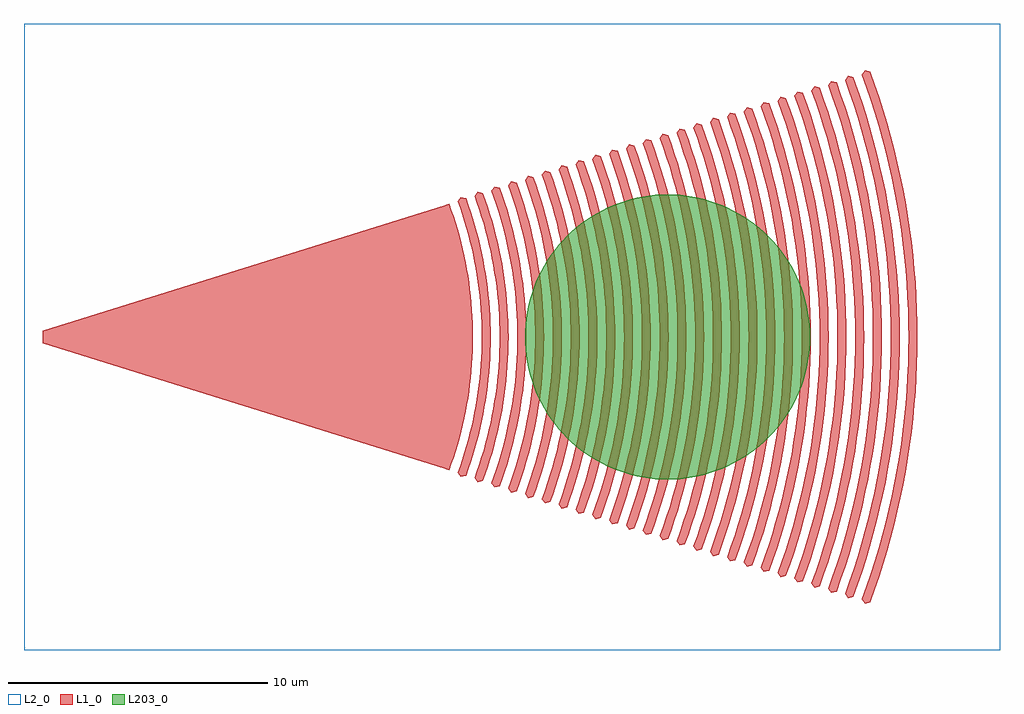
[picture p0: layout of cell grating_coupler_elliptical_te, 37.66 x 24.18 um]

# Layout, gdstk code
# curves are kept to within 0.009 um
import gdstk
lib = gdstk.Library(unit=1e-6, precision=1e-09)
def R(c, l, rs):  # rectangles x0, y0, x1, y1
    for r in rs: c.add(gdstk.rectangle(r[:2], r[2:], *l))
def P(c, l, *ps):  # polygons
    for p in ps: c.add(gdstk.Polygon(p, *l))
L1_0 = (1, 0)
L2_0 = (2, 0)
L203_0 = (203, 0)

circle_layer203_0_radius = lib.new_cell('circle_layer203_0_radius5p5')
P(circle_layer203_0_radius, L203_0, [(5.5,0),(5.495,0.24),(5.453,0.718),(5.37,1.19),(5.245,1.654),(5.081,2.105),(4.879,2.54),(4.639,2.955),(4.505,3.155),(4.213,3.535),(3.889,3.889),(3.535,4.213),(3.155,4.505),(2.955,4.639),(2.54,4.879),(2.105,5.081),(1.654,5.245),(1.19,5.37),(0.718,5.453),(0.24,5.495),(0,5.5),(-0.24,5.495),(-0.718,5.453),(-1.19,5.37),(-1.654,5.245),(-2.105,5.081),(-2.54,4.879),(-2.955,4.639),(-3.155,4.505),(-3.535,4.213),(-3.889,3.889),(-4.213,3.535),(-4.505,3.155),(-4.639,2.955),(-4.879,2.54),(-5.081,2.105),(-5.245,1.654),(-5.37,1.19),(-5.453,0.718),(-5.495,0.24),(-5.5,0),(-5.495,-0.24),(-5.453,-0.718),(-5.37,-1.19),(-5.245,-1.654),(-5.081,-2.105),(-4.879,-2.54),(-4.639,-2.955),(-4.505,-3.155),(-4.213,-3.535),(-3.889,-3.889),(-3.535,-4.213),(-3.155,-4.505),(-2.955,-4.639),(-2.54,-4.879),(-2.105,-5.081),(-1.654,-5.245),(-1.19,-5.37),(-0.718,-5.453),(-0.24,-5.495),(0,-5.5),(0.24,-5.495),(0.718,-5.453),(1.19,-5.37),(1.654,-5.245),(2.105,-5.081),(2.54,-4.879),(2.955,-4.639),(3.155,-4.505),(3.535,-4.213),(3.889,-3.889),(4.213,-3.535),(4.505,-3.155),(4.639,-2.955),(4.879,-2.54),(5.081,-2.105),(5.245,-1.654),(5.37,-1.19),(5.453,-0.718),(5.495,-0.24)])

grating_coupler_elliptic = lib.new_cell('grating_coupler_elliptical_te')
P(grating_coupler_elliptic, L1_0, [(16.855,-5.399),(16.732,-5.233),(16.989,-4.472),(17.206,-3.701),(17.381,-2.919),(17.514,-2.129),(17.58,-1.599),(17.627,-1.067),(17.655,-0.534),(17.664,0),(17.655,0.534),(17.627,1.067),(17.58,1.599),(17.514,2.129),(17.381,2.919),(17.206,3.701),(16.989,4.472),(16.732,5.233),(16.855,5.399),(17.055,5.349),(17.234,4.834),(17.395,4.312),(17.538,3.784),(17.662,3.252),(17.813,2.447),(17.921,1.635),(17.986,0.819),(18.008,0),(17.986,-0.819),(17.921,-1.635),(17.813,-2.447),(17.662,-3.252),(17.538,-3.784),(17.395,-4.312),(17.234,-4.834),(17.055,-5.349)],
  [(17.505,-5.602),(17.382,-5.437),(17.565,-4.911),(17.804,-4.113),(18,-3.304),(18.153,-2.486),(18.263,-1.661),(18.311,-1.109),(18.341,-0.555),(18.35,0),(18.341,0.555),(18.311,1.109),(18.263,1.661),(18.153,2.486),(18,3.304),(17.804,4.113),(17.565,4.911),(17.382,5.437),(17.505,5.602),(17.705,5.552),(17.891,5.018),(18.058,4.476),(18.206,3.928),(18.335,3.376),(18.492,2.54),(18.604,1.697),(18.671,0.85),(18.694,0),(18.671,-0.85),(18.604,-1.697),(18.492,-2.54),(18.335,-3.376),(18.206,-3.928),(18.058,-4.476),(17.891,-5.018),(17.705,-5.552)],
  [(18.155,-5.806),(18.032,-5.64),(18.309,-4.82),(18.542,-3.989),(18.731,-3.146),(18.831,-2.579),(18.912,-2.009),(18.996,-1.15),(19.026,-0.575),(19.036,0),(19.026,0.575),(18.996,1.15),(18.912,2.009),(18.831,2.579),(18.731,3.146),(18.542,3.989),(18.309,4.82),(18.032,5.64),(18.155,5.806),(18.355,5.756),(18.547,5.202),(18.721,4.64),(18.874,4.072),(19.008,3.5),(19.17,2.633),(19.286,1.76),(19.356,0.881),(19.38,0),(19.356,-0.881),(19.286,-1.76),(19.17,-2.633),(19.008,-3.5),(18.874,-4.072),(18.721,-4.64),(18.547,-5.202),(18.355,-5.756)],
  [(18.804,-6.009),(18.681,-5.844),(18.969,-4.994),(19.135,-4.421),(19.345,-3.552),(19.51,-2.672),(19.594,-2.082),(19.657,-1.489),(19.699,-0.894),(19.722,0),(19.699,0.894),(19.657,1.489),(19.594,2.082),(19.51,2.672),(19.345,3.552),(19.135,4.421),(18.969,4.994),(18.681,5.844),(18.804,6.009),(19.004,5.959),(19.204,5.386),(19.384,4.804),(19.543,4.216),(19.681,3.624),(19.849,2.726),(19.969,1.822),(20.041,0.912),(20.066,0),(20.041,-0.912),(19.969,-1.822),(19.849,-2.726),(19.681,-3.624),(19.543,-4.216),(19.384,-4.804),(19.204,-5.386),(19.004,-5.959)],
  [(19.454,-6.213),(19.331,-6.047),(19.535,-5.462),(19.8,-4.575),(20.018,-3.675),(20.189,-2.765),(20.275,-2.154),(20.341,-1.541),(20.398,-0.617),(20.408,0),(20.398,0.617),(20.341,1.541),(20.275,2.154),(20.189,2.765),(20.018,3.675),(19.8,4.575),(19.535,5.462),(19.331,6.047),(19.454,6.213),(19.654,6.163),(19.861,5.569),(20.046,4.968),(20.211,4.36),(20.354,3.747),(20.527,2.819),(20.652,1.884),(20.727,0.943),(20.752,0),(20.727,-0.943),(20.652,-1.884),(20.527,-2.819),(20.354,-3.747),(20.211,-4.36),(20.046,-4.968),(19.861,-5.569),(19.654,-6.163)],
  [(20.104,-6.416),(19.981,-6.251),(20.288,-5.342),(20.466,-4.729),(20.691,-3.799),(20.867,-2.858),(20.957,-2.227),(21.05,-1.275),(21.083,-0.638),(21.094,0),(21.083,0.638),(21.05,1.275),(20.957,2.227),(20.867,2.858),(20.691,3.799),(20.466,4.729),(20.288,5.342),(19.981,6.251),(20.104,6.416),(20.304,6.366),(20.517,5.753),(20.709,5.132),(20.879,4.504),(21.027,3.871),(21.206,2.913),(21.334,1.946),(21.412,0.974),(21.438,0),(21.412,-0.974),(21.334,-1.946),(21.206,-2.913),(21.027,-3.871),(20.879,-4.504),(20.709,-5.132),(20.517,-5.753),(20.304,-6.366)],
  [(20.754,-6.62),(20.631,-6.454),(20.948,-5.516),(21.131,-4.883),(21.364,-3.923),(21.546,-2.951),(21.638,-2.299),(21.708,-1.644),(21.769,-0.658),(21.78,0),(21.769,0.658),(21.708,1.644),(21.638,2.299),(21.546,2.951),(21.364,3.923),(21.131,4.883),(20.948,5.516),(20.631,6.454),(20.754,6.62),(20.954,6.57),(21.174,5.937),(21.372,5.296),(21.547,4.648),(21.699,3.995),(21.885,3.006),(22.017,2.008),(22.097,1.006),(22.124,0),(22.097,-1.006),(22.017,-2.008),(21.885,-3.006),(21.699,-3.995),(21.547,-4.648),(21.372,-5.296),(21.174,-5.937),(20.954,-6.57)],
  [(21.403,-6.823),(21.28,-6.658),(21.608,-5.69),(21.883,-4.708),(22.037,-4.046),(22.224,-3.044),(22.32,-2.372),(22.419,-1.358),(22.455,-0.679),(22.466,0),(22.455,0.679),(22.419,1.358),(22.32,2.372),(22.224,3.044),(22.037,4.046),(21.883,4.708),(21.608,5.69),(21.28,6.658),(21.403,6.823),(21.603,6.773),(21.719,6.449),(21.935,5.791),(22.128,5.127),(22.297,4.456),(22.442,3.78),(22.615,2.757),(22.7,2.071),(22.782,1.037),(22.81,0),(22.782,-1.037),(22.7,-2.071),(22.615,-2.757),(22.442,-3.78),(22.297,-4.456),(22.128,-5.127),(21.935,-5.791),(21.719,-6.449),(21.603,-6.773)],
  [(22.053,-7.027),(21.93,-6.861),(22.267,-5.864),(22.551,-4.852),(22.71,-4.17),(22.903,-3.138),(23.042,-2.097),(23.103,-1.399),(23.14,-0.7),(23.152,0),(23.14,0.7),(23.103,1.399),(23.042,2.097),(22.903,3.138),(22.71,4.17),(22.551,4.852),(22.267,5.864),(21.93,6.861),(22.053,7.027),(22.253,6.977),(22.373,6.643),(22.595,5.965),(22.793,5.281),(22.967,4.59),(23.117,3.893),(23.242,3.192),(23.383,2.133),(23.467,1.068),(23.496,0),(23.467,-1.068),(23.383,-2.133),(23.242,-3.192),(23.117,-3.893),(22.967,-4.59),(22.793,-5.281),(22.595,-5.965),(22.373,-6.643),(22.253,-6.977)],
  [(22.703,-7.23),(22.58,-7.065),(22.818,-6.382),(23.128,-5.345),(23.383,-4.294),(23.582,-3.231),(23.683,-2.517),(23.788,-1.441),(23.826,-0.721),(23.838,0),(23.826,0.721),(23.788,1.441),(23.683,2.517),(23.582,3.231),(23.383,4.294),(23.128,5.345),(22.818,6.382),(22.58,7.065),(22.703,7.23),(22.903,7.18),(23.026,6.836),(23.255,6.139),(23.459,5.435),(23.638,4.724),(23.792,4.007),(23.975,2.922),(24.101,1.83),(24.169,0.733),(24.182,0),(24.169,-0.733),(24.101,-1.83),(23.975,-2.922),(23.792,-4.007),(23.638,-4.724),(23.459,-5.435),(23.255,-6.139),(23.026,-6.836),(22.903,-7.18)],
  [(23.353,-7.434),(23.23,-7.268),(23.587,-6.212),(23.887,-5.14),(24.056,-4.417),(24.26,-3.324),(24.365,-2.589),(24.443,-1.852),(24.495,-1.112),(24.524,0),(24.495,1.112),(24.443,1.852),(24.365,2.589),(24.26,3.324),(24.056,4.417),(23.887,5.14),(23.587,6.212),(23.23,7.268),(23.353,7.434),(23.553,7.384),(23.8,6.673),(24.023,5.952),(24.22,5.224),(24.467,4.12),(24.655,3.005),(24.785,1.882),(24.838,1.13),(24.868,0),(24.838,-1.13),(24.785,-1.882),(24.655,-3.005),(24.467,-4.12),(24.22,-5.224),(24.023,-5.952),(23.8,-6.673),(23.553,-7.384)],
  [(24.002,-7.637),(23.879,-7.472),(24.131,-6.75),(24.459,-5.653),(24.728,-4.541),(24.939,-3.417),(25.046,-2.662),(25.127,-1.904),(25.197,-0.762),(25.21,0),(25.197,0.762),(25.127,1.904),(25.046,2.662),(24.939,3.417),(24.728,4.541),(24.459,5.653),(24.131,6.75),(23.879,7.472),(24.002,7.637),(24.202,7.587),(24.457,6.856),(24.685,6.116),(24.888,5.368),(25.142,4.234),(25.278,3.471),(25.431,2.319),(25.523,1.161),(25.554,0),(25.523,-1.161),(25.431,-2.319),(25.278,-3.471),(25.142,-4.234),(24.888,-5.368),(24.685,-6.116),(24.457,-6.856),(24.202,-7.587)],
  [(24.652,-7.841),(24.529,-7.675),(24.906,-6.56),(25.124,-5.807),(25.401,-4.665),(25.617,-3.51),(25.728,-2.734),(25.81,-1.955),(25.883,-0.783),(25.896,0),(25.883,0.783),(25.841,1.565),(25.728,2.734),(25.617,3.51),(25.401,4.665),(25.124,5.807),(24.906,6.56),(24.529,7.675),(24.652,7.841),(24.852,7.791),(25.113,7.04),(25.348,6.28),(25.556,5.512),(25.817,4.347),(26.016,3.171),(26.152,1.986),(26.208,1.192),(26.24,0),(26.208,-1.192),(26.152,-1.986),(26.016,-3.171),(25.817,-4.347),(25.556,-5.512),(25.348,-6.28),(25.113,-7.04),(24.852,-7.791)],
  [(25.302,-8.044),(25.179,-7.879),(25.444,-7.117),(25.79,-5.961),(26.074,-4.789),(26.296,-3.603),(26.409,-2.807),(26.526,-1.607),(26.568,-0.804),(26.582,0),(26.568,0.804),(26.526,1.607),(26.409,2.807),(26.296,3.603),(26.074,4.789),(25.79,5.961),(25.444,7.117),(25.179,7.879),(25.302,8.044),(25.502,7.994),(25.77,7.224),(26.121,6.051),(26.32,5.259),(26.492,4.461),(26.696,3.254),(26.836,2.038),(26.893,1.224),(26.926,0),(26.893,-1.224),(26.836,-2.038),(26.696,-3.254),(26.492,-4.461),(26.32,-5.259),(26.121,-6.051),(25.77,-7.224),(25.502,-7.994)],
  [(25.952,-8.248),(25.829,-8.082),(26.226,-6.908),(26.56,-5.716),(26.747,-4.912),(26.975,-3.696),(27.091,-2.879),(27.178,-2.059),(27.236,-1.237),(27.268,0),(27.236,1.237),(27.178,2.059),(27.091,2.879),(26.975,3.696),(26.83,4.508),(26.56,5.716),(26.226,6.908),(25.829,8.082),(25.952,8.248),(26.152,8.198),(26.426,7.408),(26.673,6.608),(26.892,5.8),(27.167,4.574),(27.376,3.336),(27.479,2.506),(27.578,1.255),(27.612,0),(27.578,-1.255),(27.479,-2.506),(27.376,-3.336),(27.167,-4.574),(26.892,-5.8),(26.673,-6.608),(26.426,-7.408),(26.152,-8.198)],
  [(26.601,-8.451),(26.478,-8.286),(26.885,-7.082),(27.228,-5.86),(27.505,-4.622),(27.653,-3.789),(27.772,-2.952),(27.895,-1.69),(27.94,-0.845),(27.954,0),(27.94,0.845),(27.895,1.69),(27.772,2.952),(27.653,3.789),(27.505,4.622),(27.228,5.86),(26.885,7.082),(26.478,8.286),(26.601,8.451),(26.801,8.401),(27.083,7.592),(27.452,6.359),(27.661,5.527),(27.842,4.688),(27.992,3.843),(28.162,2.568),(28.263,1.286),(28.298,0),(28.263,-1.286),(28.162,-2.568),(28.056,-3.419),(27.842,-4.688),(27.661,-5.527),(27.452,-6.359),(27.083,-7.592),(26.801,-8.401)],
  [(27.251,-8.655),(27.128,-8.489),(27.545,-7.256),(27.896,-6.004),(28.093,-5.16),(28.332,-3.882),(28.454,-3.024),(28.545,-2.163),(28.606,-1.299),(28.64,0),(28.606,1.299),(28.545,2.163),(28.454,3.024),(28.332,3.882),(28.093,5.16),(27.896,6.004),(27.545,7.256),(27.128,8.489),(27.251,8.655),(27.451,8.605),(27.74,7.776),(27.999,6.936),(28.229,6.088),(28.517,4.801),(28.736,3.502),(28.887,2.193),(28.949,1.317),(28.984,0),(28.949,-1.317),(28.887,-2.193),(28.736,-3.502),(28.517,-4.801),(28.229,-6.088),(27.999,-6.936),(27.74,-7.776),(27.451,-8.605)],
  [(27.901,-8.858),(27.778,-8.693),(28.205,-7.43),(28.452,-6.577),(28.766,-5.283),(29.01,-3.975),(29.135,-3.097),(29.229,-2.215),(29.311,-0.887),(29.326,0),(29.311,0.887),(29.229,2.215),(29.135,3.097),(29.01,3.975),(28.766,5.283),(28.452,6.577),(28.205,7.43),(27.778,8.693),(27.901,8.858),(28.101,8.808),(28.396,7.96),(28.662,7.1),(28.897,6.231),(29.191,4.915),(29.416,3.585),(29.571,2.245),(29.654,0.899),(29.67,0),(29.654,-0.899),(29.571,-2.245),(29.416,-3.585),(29.191,-4.915),(28.897,-6.231),(28.662,-7.1),(28.396,-7.96),(28.101,-8.808)],
  [(28.551,-9.062),(28.428,-8.896),(28.865,-7.604),(29.232,-6.292),(29.53,-4.962),(29.689,-4.068),(29.817,-3.169),(29.949,-1.814),(29.996,-0.908),(30.012,0),(29.996,0.908),(29.949,1.814),(29.817,3.169),(29.689,4.068),(29.53,4.962),(29.232,6.292),(28.865,7.604),(28.428,8.896),(28.551,9.062),(28.751,9.012),(29.053,8.144),(29.324,7.264),(29.565,6.375),(29.866,5.028),(30.028,4.123),(30.21,2.755),(30.319,1.379),(30.356,0),(30.319,-1.379),(30.21,-2.755),(30.028,-4.123),(29.866,-5.028),(29.565,-6.375),(29.324,-7.264),(29.053,-8.144),(28.751,-9.012)],
  [(29.2,-9.265),(29.078,-9.1),(29.524,-7.778),(29.783,-6.885),(30.111,-5.531),(30.368,-4.161),(30.498,-3.242),(30.633,-1.856),(30.682,-0.928),(30.698,0),(30.682,0.928),(30.633,1.856),(30.551,2.781),(30.368,4.161),(30.111,5.531),(29.783,6.885),(29.524,7.778),(29.078,9.1),(29.2,9.265),(29.4,9.215),(29.709,8.327),(30.114,6.975),(30.344,6.062),(30.541,5.142),(30.777,3.75),(30.938,2.349),(31.025,0.94),(31.042,0),(31.025,-0.94),(30.938,-2.349),(30.777,-3.75),(30.541,-5.142),(30.344,-6.062),(30.114,-6.975),(29.709,-8.327),(29.4,-9.215)],
  [(29.85,-9.469),(29.727,-9.303),(30.184,-7.952),(30.568,-6.58),(30.88,-5.189),(31.046,-4.255),(31.18,-3.314),(31.318,-1.897),(31.368,-0.949),(31.384,0),(31.368,0.949),(31.318,1.897),(31.18,3.314),(31.046,4.255),(30.88,5.189),(30.568,6.58),(30.184,7.952),(29.727,9.303),(29.85,9.469),(30.05,9.419),(30.366,8.511),(30.78,7.129),(31.014,6.196),(31.216,5.255),(31.457,3.833),(31.622,2.401),(31.711,0.961),(31.728,0),(31.711,-0.961),(31.622,-2.401),(31.457,-3.833),(31.216,-5.255),(31.014,-6.196),(30.78,-7.129),(30.366,-8.511),(30.05,-9.419)],
  [(30.5,-9.672),(30.377,-9.507),(30.844,-8.126),(31.237,-6.723),(31.555,-5.303),(31.725,-4.348),(31.861,-3.387),(31.964,-2.422),(32.032,-1.455),(32.07,0),(32.032,1.455),(31.964,2.422),(31.861,3.387),(31.725,4.348),(31.555,5.303),(31.237,6.723),(30.844,8.126),(30.377,9.507),(30.5,9.672),(30.7,9.622),(31.022,8.695),(31.172,8.227),(31.445,7.283),(31.685,6.33),(31.891,5.369),(32.064,4.402),(32.258,2.941),(32.375,1.473),(32.414,0),(32.375,-1.473),(32.258,-2.941),(32.064,-4.402),(31.891,-5.369),(31.685,-6.33),(31.445,-7.283),(31.172,-8.227),(31.022,-8.695),(30.7,-9.622)],
  [(31.15,-9.876),(31.027,-9.71),(31.504,-8.3),(31.905,-6.867),(32.022,-6.386),(32.23,-5.416),(32.403,-4.441),(32.543,-3.459),(32.687,-1.98),(32.739,-0.991),(32.756,0),(32.739,0.991),(32.687,1.98),(32.543,3.459),(32.403,4.441),(32.23,5.416),(32.022,6.386),(31.905,6.867),(31.504,8.3),(31.027,9.71),(31.15,9.876),(31.35,9.826),(31.679,8.879),(32.111,7.437),(32.356,6.464),(32.566,5.483),(32.742,4.495),(32.941,3.003),(33.06,1.504),(33.1,0),(33.06,-1.504),(32.941,-3.003),(32.817,-3.999),(32.659,-4.989),(32.566,-5.483),(32.356,-6.464),(32.111,-7.437),(31.679,-8.879),(31.35,-9.826)],
  [(31.8,-10.079),(31.677,-9.914),(32.01,-8.956),(32.163,-8.473),(32.445,-7.501),(32.573,-7.011),(32.905,-5.53),(33.082,-4.534),(33.224,-3.532),(33.331,-2.526),(33.425,-1.011),(33.442,0),(33.425,1.011),(33.331,2.526),(33.224,3.532),(33.082,4.534),(32.905,5.53),(32.573,7.011),(32.445,7.501),(32.163,8.473),(32.01,8.956),(31.677,9.914),(31.8,10.079),(31.999,10.029),(32.336,9.063),(32.638,8.084),(32.906,7.095),(33.241,5.596),(33.421,4.588),(33.497,4.082),(33.565,3.574),(33.673,2.556),(33.745,1.535),(33.786,0),(33.745,-1.535),(33.673,-2.556),(33.565,-3.574),(33.497,-4.082),(33.421,-4.588),(33.241,-5.596),(32.906,-7.095),(32.638,-8.084),(32.336,-9.063),(31.999,-10.029)],
  [(32.449,-10.283),(32.326,-10.117),(32.666,-9.14),(33.111,-7.655),(33.476,-6.149),(33.58,-5.644),(33.761,-4.627),(33.906,-3.605),(33.965,-3.092),(34.056,-2.063),(34.11,-1.032),(34.128,0),(34.11,1.032),(34.056,2.063),(34.015,2.578),(33.906,3.605),(33.761,4.627),(33.58,5.644),(33.476,6.149),(33.111,7.655),(32.666,9.14),(32.326,10.117),(32.449,10.283),(32.649,10.233),(32.992,9.247),(33.151,8.749),(33.442,7.745),(33.697,6.731),(33.916,5.71),(34.012,5.196),(34.177,4.165),(34.306,3.128),(34.398,2.087),(34.43,1.566),(34.472,0),(34.43,-1.566),(34.398,-2.087),(34.306,-3.128),(34.177,-4.165),(34.099,-4.681),(33.916,-5.71),(33.697,-6.731),(33.442,-7.745),(33.151,-8.749),(32.992,-9.247),(32.649,-10.233)],
  [(0.721,0.25),(0.721,-0.25),(16.244,-5.088),(16.455,-4.473),(16.704,-3.599),(16.874,-2.838),(17.004,-2.07),(17.104,-1.167),(17.148,-0.26),(17.136,0.649),(17.068,1.555),(16.944,2.455),(16.765,3.346),(16.531,4.225),(16.244,5.088)],
  [(16.082,-5.03),(16.252,-4.543),(16.403,-4.052),(16.598,-3.307),(16.706,-2.805),(16.796,-2.3),(16.868,-1.792),(16.922,-1.281),(16.969,-0.513),(16.976,0.257),(16.958,0.769),(16.897,1.537),(16.796,2.3),(16.706,2.805),(16.537,3.557),(16.33,4.298),(16.082,5.03),(16.405,5.145),(16.578,4.65),(16.804,3.895),(16.989,3.129),(17.134,2.354),(17.238,1.573),(17.301,0.788),(17.322,0),(17.312,-0.525),(17.264,-1.312),(17.174,-2.094),(17.091,-2.613),(16.989,-3.129),(16.804,-3.895),(16.578,-4.65),(16.405,-5.145)])
R(grating_coupler_elliptic, L2_0, [(0,-12.09,37.657,12.09)])
grating_coupler_elliptic.add(gdstk.Reference(circle_layer203_0_radius, (24.832,0)))

lib.write_gds('grating_coupler_elliptical_te.gds')
